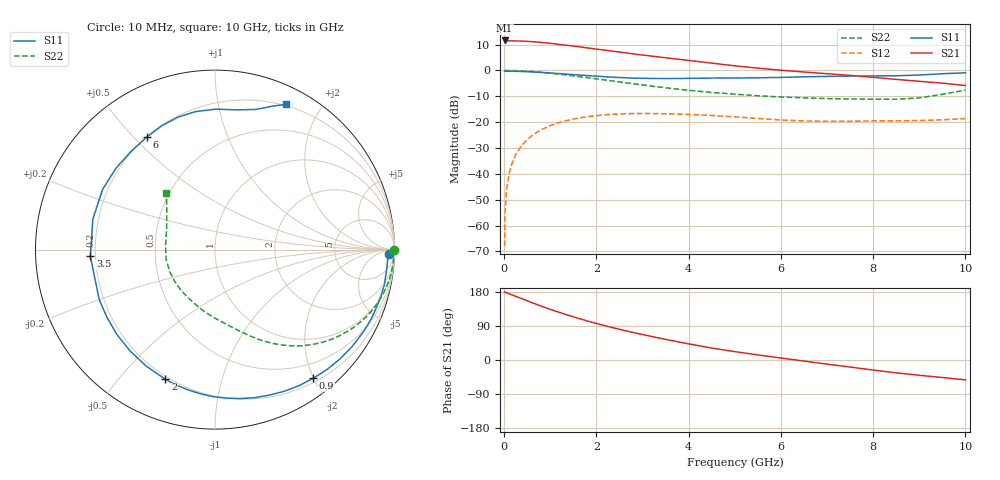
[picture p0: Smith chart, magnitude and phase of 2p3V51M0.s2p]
! (c) 2009  Infineon Technologies AG, Munich
! Infineon Technologies  Discrete & RF Semiconductors
! BFP420
! VCE =  3.5 V,  IC =  1.0 mA
! Common Emitter S-Parameters:  Nov 2009
# GHz  S  MA  R  50
!  f  S11  S21  S12  S22
! GHz  MAG  ANG  MAG  ANG  MAG  ANG  MAG  ANG
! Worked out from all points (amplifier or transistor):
!   46 points, 10 MHz to 10 GHz, reference 50 ohm
!   highest |S21| = 11.6 dB at 10 MHz (marker M1)
!   |S21| within 3 dB of that: start of sweep to 1.856 GHz
!   unconditionally stable (mu >= 1): 4.373 GHz to end of sweep
!   at 300 MHz: K = 0.03, MSG = 21.2 dB, |S12| = -31.1 dB
!   at 1.7 GHz: K = 0.26, MSG = 13.6 dB, |S12| = -18.2 dB
!   at 10 GHz: K = 1.35, MAG = 2.9 dB, |S12| = -18.6 dB
!   lowest NFmin = 0.53 dB at 900 MHz
!   S11 on the Smith chart (normalised r, x): 10 MHz: 36, -33; 900 MHz: 0.26, -1.99; 2 GHz: 0.19, -0.67; 3.5 GHz: 0.18, -0.03; 6 GHz: 0.20, +0.54; 10 GHz: 0.18, +1.59
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0.01  0.9705 -1.6  3.795 179.4  0.0004 111.6  0.9978 -0.1
0.02  0.9669 -1.3  3.674 179.3  0.0019 82.5  0.997 -0.6
0.05  0.9639 -2.8  3.706 177.6  0.0047 87.2  0.9975 -1.5
0.1  0.9633 -6.0  3.721 175.3  0.0094 86.0  0.9969 -3.1
0.15  0.9622 -8.8  3.729 172.9  0.014 84.7  0.9948 -4.7
0.3  0.9579 -17.7  3.708 165.7  0.0279 79.4  0.9862 -9.4
0.45  0.9485 -26.5  3.666 158.6  0.0415 74.2  0.9716 -14.0
0.7  0.9251 -41.2  3.548 146.9  0.0628 65.4  0.9368 -21.4
0.9  0.9019 -52.7  3.409 138.0  0.0783 58.6  0.9024 -26.9
1.2  0.8653 -69.6  3.185 125.4  0.0985 49.1  0.844 -34.6
1.4  0.8415 -80.5  3.031 117.6  0.1097 43.1  0.8038 -39.3
1.7  0.8062 -96.2  2.807 106.7  0.1235 34.7  0.744 -45.6
2  0.7739 -110.9  2.583 96.5  0.1336 27.0  0.6872 -51.3
2.6  0.7226 -139.4  2.205 78.1  0.1453 13.1  0.5825 -61.4
3  0.7029 -156.6  1.985 67.2  0.1472 5.2  0.5238 -67.4
3.5  0.6955 -176.9  1.757 54.4  0.1455 -3.3  0.4611 -75.0
4.5  0.7106 151.7  1.384 31.6  0.1348 -16.0  0.3754 -91.9
5.5  0.72 130.5  1.106 13.4  0.1179 -23.2  0.3237 -109.9
6  0.7332 121.3  1.009 5.3  0.11 -24.0  0.3063 -119.8
7  0.7662 105.6  0.864 -10.9  0.1036 -22.5  0.286 -141.5
8.5  0.7882 81.0  0.67 -33.8  0.1061 -21.9  0.2765 174.7
10  0.9012 63.9  0.511 -52.4  0.1172 -20.2  0.4155 130.6
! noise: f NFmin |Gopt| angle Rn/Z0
0.9  0.53  0.67  34  0.35
1.8  1.15  0.44  77  0.27
2.4  1.28  0.44  100  0.22
3  1.61  0.45  131  0.15
4  1.9  0.47  -177  0.09
5  2.32  0.44  -133  0.45
6  3.43  0.6  -118  0.25
